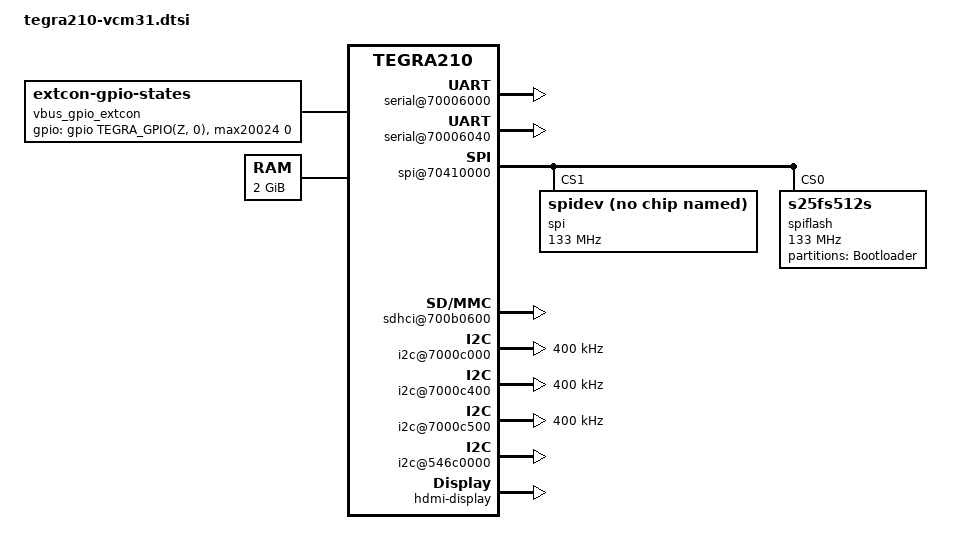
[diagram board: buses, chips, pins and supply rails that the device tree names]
/*
 * arch/arm64/boot/dts/tegra210-vcm31.dtsi
 *
 * Copyright (c) 2015-2016, NVIDIA CORPORATION.  All rights reserved.
 *
 * This program is free software; you can redistribute it and/or modify
 * it under the terms of the GNU General Public License as published by
 * the Free Software Foundation; version 2 of the License.
 *
 * This program is distributed in the hope that it will be useful, but WITHOUT
 * ANY WARRANTY; without even the implied warranty of MERCHANTABILITY or
 * FITNESS FOR A PARTICULAR PURPOSE.  See the GNU General Public License for
 * more details.
 *
 * You should have received a copy of the GNU General Public License along
 * with this program; if not, write to the Free Software Foundation, Inc.,
 * 51 Franklin Street, Fifth Floor, Boston, MA  02110-1301, USA.
 *
 */

#include "tegra210-common.dtsi"
#include "tegra210-platforms/tegra210-sdhci.dtsi"
#include "tegra210-platforms/tegra210-edp.dtsi"
#include "tegra210-platforms/tegra210-sysedp.dtsi"
#include "tegra210-platforms/tegra210-audio.dtsi"

#include "tegra210-platforms/tegra210-vcm31-power-tree.dtsi"
#include "tegra210-platforms/tegra210-vcm31-power-dvfs.dtsi"
#include "tegra210-platforms/tegra210-vcm31t210-emc.dtsi"
#include "tegra210-platforms/tegra210-ers-clk-init.dtsi"
#include "tegra210-platforms/tegra210-pinmux-drive-sdmmc-common.dtsi"
#include <panel-a-edp-1080p-14-0.dtsi>

#include <dt-bindings/sound/tegra-asoc-alt.h>
#include <dt-bindings/display/tegra-dc.h>
#include <dt-bindings/display/tegra-panel.h>

#define EXTCON_NONE             0
#define EXTCON_USB              1
#define EXTCON_USB_Host         2

/ {
	chosen {
		bootargs = "earlycon=uart8250,mmio32,0x70006040";
		stdout-path = &uartb;
	};

	serial@70006000 {
		status = "okay";
		compatible = "nvidia,tegra114-hsuart";
	};

	serial@70006040 { /* debug console */
		compatible = "nvidia,tegra210-uart", "nvidia,tegra114-hsuart";
		console-port;
		sqa-automation-port;
		enable-rx-poll-timer;
		status = "okay";
	};

	serial@70006200 {
		status = "disabled";
	};

	serial@70006300 {
		status = "disabled";
	};

	spi@7000d400 {
		status = "disable";
		spi@0 {
			compatible = "spidev";
			reg = <0>;
			spi-max-frequency = <13000000>;
		};
	};

	spi@7000d600 {
		status = "disabled";
		spi@0 {
			compatible = "spidev";
			reg = <0>;
			spi-max-frequency = <13000000>;
		};
	};

	spi@7000d800 {
		status = "disabled";
		spi@0 {
			compatible = "spidev";
			reg = <0>;
			spi-max-frequency = <13000000>;
		};
	};

	spi@7000da00 {
		status = "disabled";
		spi@0 {
			compatible = "spidev";
			reg = <0>;
			spi-max-frequency = <13000000>;
		};
	};

	spi@70410000 { /* qspi nor */
		status = "okay";

		nvidia,x4-is-ddr=<1>;

		spi@0 {
			compatible = "spidev";
			reg = <1>;
			spi-max-frequency = <133000000>;

			controller-data {
				nvidia,x1-len-limit = <16>;
				nvidia,x1-bus-speed = <133000000>; /* In Mhz */
				nvidia,x1-dymmy-cycle = <0>;
				nvidia,x4-bus-speed = <133000000>;
				nvidia,x4-dymmy-cycle = <8>;
				nvidia,ifddr-div2-sdr = <1>;
				nvidia,x4-is-ddr=<1>;
			};
		};

		spiflash@1 {
			#address-cells = <1>;
			#size-cells = <1>;
			compatible = "s25fs512s";
			reg = <0>;
			spi-max-frequency = <133000000>;
			partition@0 {
				label = "Bootloader";
				reg = <0x00000000 0x4000000>;
			};
			controller-data {
				nvidia,x1-len-limit = <16>;
				nvidia,x1-bus-speed = <133000000>; /* In Mhz */
				nvidia,x1-dymmy-cycle = <0>;
				nvidia,x4-bus-speed = <133000000>;
				nvidia,x4-dymmy-cycle = <8>;
				nvidia,ifddr-div2-sdr = <1>;
				nvidia,x4-is-ddr=<1>;
			};
		};
	};

	sdhci@700b0000 { /* sd card */
		cd-gpios = <&gpio TEGRA_GPIO_PZ1 0>;
		wp-gpios = <&gpio TEGRA_GPIO_PZ4 0>;
		nvidia,sd-device;
		status = "disabled";
	};

	sdhci@700b0200 {
		status = "disabled";
	};

	sdhci@700b0400 { /* sd card */
		cd-gpios = <&gpio TEGRA_GPIO_PZ2 0>;
		wp-gpios = <&gpio TEGRA_GPIO_PZ3 0>;
		nvidia,sd-device;
		status = "disabled";
	};

	sdhci@700b0600 { /* eMMC */
		uhs-mask = <0x40>;
		built-in;
		pll_source = "pll_p", "pll_c4_out2";
		power-off-rail;
		status = "okay";
	};

	i2c@7000c000 { /* GEN1 */
		clock-frequency = <400000>;
		status = "okay";
	};

	i2c@7000c400 { /* GEN2 */
		clock-frequency = <400000>;
		status = "okay";
	};

	i2c@7000c500 { /* GEN3 */
		clock-frequency = <400000>;
		status = "okay";
	};

	/* FIXME: check if it common accross all board */
	i2c@546c0000 {
		status = "okay";
	};

	hdmi_ddc: i2c@7000c700 { /* DDC */
		clock-frequency = <100000>;
		status = "diabled";
	};

	sata@70020000 {
		status = "disabled";
		nvidia,enable-sata-port;
	};

	pcie-controller@1003000 {
		status = "disabled";
		/* FIXME: check on lane map */
		nvidia,lane-map = <0x08>;
		pci@1,0 {
			status = "disabled";
			nvidia,num-lanes = <0x2>;
		};

		pci@2,0 {
			status = "disabled";
			nvidia,num-lanes = <0x1>;
		};

	};

	/* FIXME: need to check with different boards vbus/id setting */
	extcon {
		compatible = "simple-bus";
		device_type = "external-connection";
		#address-cells = <1>;
		#size-cells = <0>;

		extcon@0 {
			status = "disabled";
			gpio = <&max20024 0 0>;
		};

		vbus_gpio_extcon: extcon@1 {
			compatible = "extcon-gpio-states";
			reg = <0x1>;
			extcon-gpio,name = "VBUS";
			/*
			 * Array of gstate,cstate pairs. Each pair shows how to
			 * map GPIO signal values into cable values as defined
			 * by the consumer in question.  Here:
			 *
			 * cstate[x].bit0 -> VBUS cable
			 * cstate[x].bit1 -> nID cable
			 *
			 * Since we don't support VBUS sensing, in gadget mode
			 * (cstate[x].bit1 == 0), set cstate[x].bit0 to 1.
			 */
			extcon-gpio,cable-states = <0x3 0x1
						0x0 0x2
						0x1 0x2
						0x2 0x1>;
			/* Z.00 is an unused GPIO in our reference platform */
			gpios = <&gpio TEGRA_GPIO(Z, 0) 0 &max20024 0 0>;
			extcon-gpio,out-cable-name-strings = "USB", "USB-Host";
			extcon-gpio,out-cable-names = <EXTCON_USB EXTCON_USB_Host EXTCON_NONE>;
			wakeup-source;
			#extcon-cells = <1>;
		};
	};

	xusb_pad_ctl: xusb_padctl {
		nvidia,ss_portmap = <0x2770>;
		nvidia,lane_owner = <0x43F6>; /* Use 0xF to disable lane assign */
		nvidia,otg_portmap = <0x0100>;
		status = "disabled";
	};

	xusb@70090000 {
		/* nvidia,uses_external_pmic;
		/* nvidia,gpio_controls_muxed_ss_lanes; */
		nvidia,gpio_ss1_sata = <0>;
		nvidia,ulpicap = <0>; /* No ulpi support. can we remove */
		nvidia,portmap = <0x0E0C>;
		nvidia,common_padctl = <&xusb_pad_ctl>;
		status = "disabled";
	};

	xudc@700d0000 {
		extcon-cables = <&vbus_gpio_extcon 0 &vbus_gpio_extcon 1>;
		extcon-cable-names = "vbus", "id";
		nvidia,common_padctl = <&xusb_pad_ctl>;
		nvidia,portmap = <0x0108>;
		#extcon-cells = <1>;
		status = "disabled";
	};

	xotg {
		nvidia,common_padctl = <&xusb_pad_ctl>;
		#extcon-cells = <1>;
		status = "disabled";
		extcon-cables = <&vbus_gpio_extcon 1>;
		extcon-cable-names = "id";
	};

	memory@80000000 {
		device_type = "memory";
		reg = < 0x0 0x80000000 0x0 0x80000000 >;
	};

	pmc@7000e400 {
		nvidia,invert-interrupt;
		io-pad-defaults {
			audio-hv {
				nvidia,io-pad-init-voltage = <IO_PAD_VOLTAGE_1_8V>;
			};

			gpio {
				nvidia,io-pad-init-voltage = <IO_PAD_VOLTAGE_3_3V>;
			};

			spi-hv {
				nvidia,io-pad-init-voltage = <IO_PAD_VOLTAGE_1_8V>;
			};
		};
	};

	tegra-aotag {
		status = "disabled";
	};

	/* Display/gpu properties start */
	/* FIXME: Is it common accross all baords */
	host1x {
		status = "okay";
		/* tegradc.0 */
		dc@54200000 {
			status = "okay";
			nvidia,dc-flags = <TEGRA_DC_FLAG_ENABLED>;
			nvidia,emc-clk-rate = <204000000>;
			/* nvidia,cmu-enable = <1>; */
			nvidia,fb-bpp = <32>; /* bits per pixel */
			nvidia,fb-flags = <TEGRA_FB_FLIP_ON_PROBE>;
		};

		/* tegradc.1 */
		dc@54240000 {
			status = "okay";
			nvidia,dc-flags = <TEGRA_DC_FLAG_ENABLED>;
			nvidia,emc-clk-rate = <300000000>;
			nvidia,fb-bpp = <32>; /* bits per pixel */
			nvidia,fb-flags = <TEGRA_FB_FLIP_ON_PROBE>;
		};

		sor {
			status = "okay";
			panel-a-edp-1080p-14-0 {
				status = "okay";
				disp-default-out {
					nvidia,out-depth = <24>;
				};
			};
		};

		dpaux {
			status = "okay";
		};

		dpaux1 {
			status = "okay";
		};

		sor1 {
			status = "okay";
			nvidia,ddc-i2c-bus = <&hdmi_ddc>;
			nvidia,hpd-gpio = <&gpio TEGRA_GPIO(CC, 1) 1>; /* PN7 */
			hdmi-display {
				status = "okay";
				compatible = "hdmi,display";
				disp-default-out {
					nvidia,out-type = <TEGRA_DC_OUT_HDMI>;
					nvidia,out-flags = <TEGRA_DC_OUT_HOTPLUG_LOW>;
					nvidia,out-parent-clk = "pll_d2";
					nvidia,out-align = <TEGRA_DC_ALIGN_MSB>;
					nvidia,out-order = <TEGRA_DC_ORDER_RED_BLUE>;
				};
			};
		};
	};

	/* Audio properties start */
	adsp_audio {
		compr-ops = <0>;
		num-plugin = <2>;
		plugin-info-1 {
			plugin-name = "reverb";
			firmware-name = "libnvreverbfx.elf";
			widget-name = "REVERB";
			param-type = <2>; /* SNDRV_CTL_ELEM_TYPE_INTEGER */
		};
		plugin-info-2 {
			plugin-name = "wire";
			firmware-name = "libnvwirefx.elf";
			widget-name = "WIRE";
		};
	};

	adma@702e2000  {
		dma-channels = <10>;
		status = "okay";
	};

	/* FIXME: Is it common accross all baords */
	ahub {
		status = "okay";
		i2s@702d1100 {
			pinctrl-names = "dap_active", "dap_inactive";
			pinctrl-0 = <>;
			pinctrl-1 = <>;
			fsync-width = <0>;
		};
		/* enable I2S4_CYA bit to select i2s4b pin */
		i2s@702d1300 {
			enable-cya;
		};
	};

	sound {
		compatible = "nvidia,tegra-audio-t210ref-mobile-foster";
		nvidia,model = "tegra-snd-t210ref-mobile-es755";
		nvidia,num-codec-link = <1>;

		nvidia,audio-routing =
			"y Headphone", 	"y OUT",
			"y IN",		"y Mic";

		nvidia,xbar = <&tegra_axbar>;
	};

	clock {
		t210-clk-init-table {
			clkinit-1 = <
			/* clock id			parent id	rate		ctrl flags */
			TEGRA210_CLK_ID_GBUS_GM20B_USER	0		844800000	0
			TEGRA210_CLK_ID_SBUS_VCM_USER	0		408000000	1
			TEGRA210_CLK_ID_SBUS_VCM_AHB_USER 0		408000000	1
			TEGRA210_CLK_ID_SBUS_VCM_APB_USER 0		204000000	1
			0 >;
		};
	};
};
